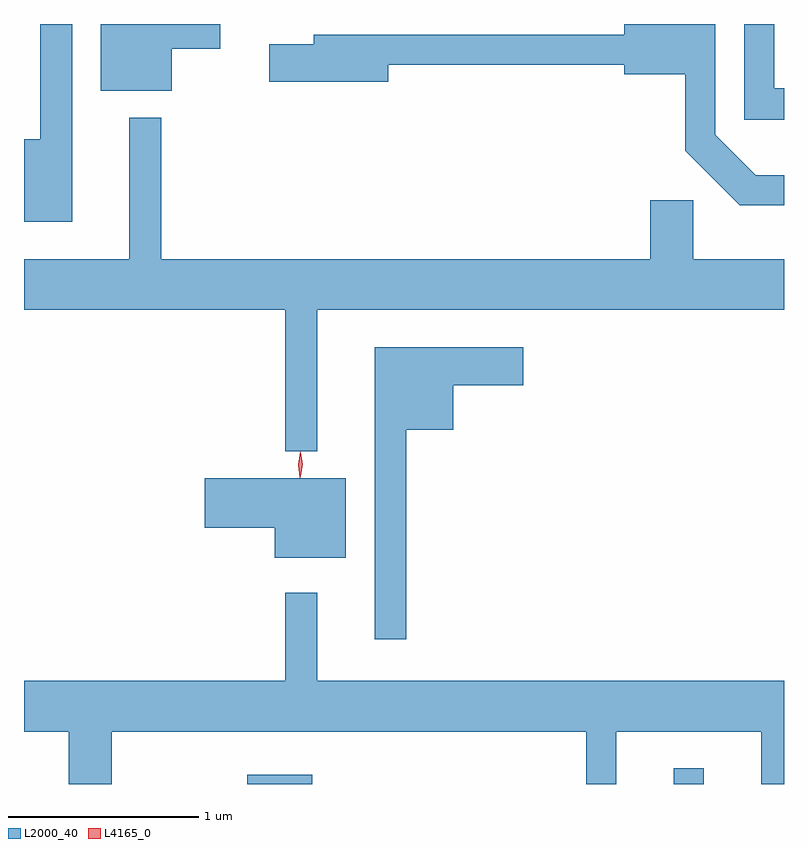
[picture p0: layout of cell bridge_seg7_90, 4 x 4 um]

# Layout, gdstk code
import gdstk
lib = gdstk.Library(unit=1e-6, precision=1e-09)
def R(c, l, rs):  # rectangles x0, y0, x1, y1
    for r in rs: c.add(gdstk.rectangle(r[:2], r[2:], *l))
def P(c, l, *ps):  # polygons
    for p in ps: c.add(gdstk.Polygon(p, *l))
L2000_40 = (2000, 40)
L4165_0 = (4165, 0)

bridge_seg7_90 = lib.new_cell('bridge_seg7_90')
R(bridge_seg7_90, L2000_40, [(1623.371,1765.101,1623.714,1765.149), (1625.616,1765.101,1625.774,1765.183)])
P(bridge_seg7_90, L2000_40, [(1626.196,1768.304),(1626.047,1768.304),(1625.834,1768.517),(1625.834,1769.101),(1625.356,1769.101),(1625.356,1769.044),(1623.721,1769.044),(1623.721,1768.994),(1623.486,1768.994),(1623.486,1768.796),(1624.114,1768.796),(1624.114,1768.886),(1625.356,1768.886),(1625.356,1768.836),(1625.676,1768.836),(1625.676,1768.434),(1625.964,1768.146),(1626.196,1768.146)],
  [(1622.974,1768.971),(1623.229,1768.971),(1623.229,1769.101),(1622.601,1769.101),(1622.601,1768.751),(1622.974,1768.751)],
  [(1626.196,1768.764),(1626.144,1768.764),(1626.144,1769.101),(1625.986,1769.101),(1625.986,1768.596),(1626.196,1768.596)],
  [(1622.449,1769.101),(1622.281,1769.101),(1622.281,1768.494),(1622.196,1768.494),(1622.196,1768.061),(1622.449,1768.061)],
  [(1623.739,1767.596),(1626.196,1767.596),(1626.196,1767.864),(1625.719,1767.864),(1625.719,1768.174),(1625.491,1768.174),(1625.491,1767.864),(1622.919,1767.864),(1622.919,1768.608),(1622.751,1768.608),(1622.751,1767.864),(1622.196,1767.864),(1622.196,1767.596),(1623.571,1767.596),(1623.571,1766.853),(1623.739,1766.853)],
  [(1624.209,1766.966),(1624.454,1766.966),(1624.454,1767.201),(1624.824,1767.201),(1624.824,1767.399),(1624.041,1767.399),(1624.041,1765.863),(1624.209,1765.863)],
  [(1623.889,1766.709),(1623.146,1766.709),(1623.146,1766.451),(1623.516,1766.451),(1623.516,1766.291),(1623.889,1766.291)],
  [(1622.659,1765.376),(1625.156,1765.376),(1625.156,1765.101),(1625.314,1765.101),(1625.314,1765.376),(1626.076,1765.376),(1626.076,1765.101),(1626.196,1765.101),(1626.196,1765.644),(1623.739,1765.644),(1623.739,1766.108),(1623.571,1766.108),(1623.571,1765.644),(1622.196,1765.644),(1622.196,1765.376),(1622.431,1765.376),(1622.431,1765.101),(1622.659,1765.101)])
P(bridge_seg7_90, L4165_0, [(1623.648,1766.714),(1623.648,1766.714),(1623.639,1766.782),(1623.649,1766.85),(1623.65,1766.85),(1623.65,1766.85),(1623.659,1766.782),(1623.649,1766.714)],
  [(1623.652,1766.72),(1623.652,1766.72),(1623.642,1766.783),(1623.652,1766.846),(1623.652,1766.847),(1623.653,1766.846),(1623.662,1766.783),(1623.653,1766.72)])

lib.write_gds('bridge_seg7_90.gds')
